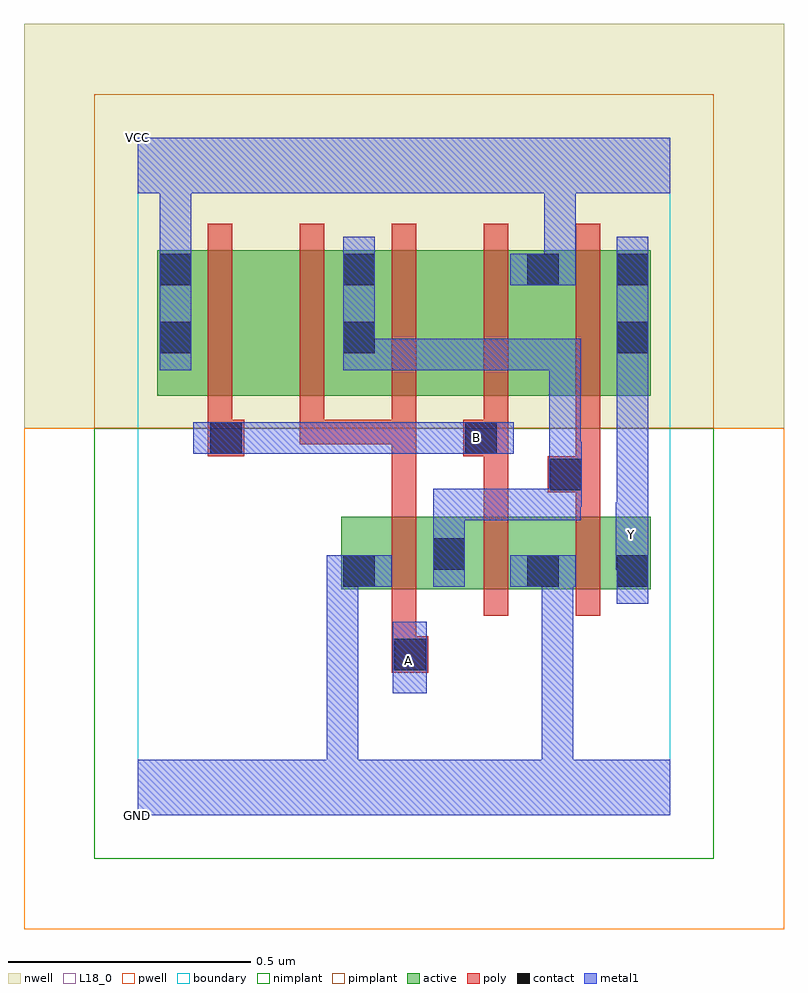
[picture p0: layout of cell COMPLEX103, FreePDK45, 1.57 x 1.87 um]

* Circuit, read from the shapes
.subckt COMPLEX103 A B GND VCC Y
M1 n1 A GND VSUBS nfet w=0.15u l=0.05u
M2 GND B n1 VSUBS nfet w=0.15u l=0.05u
M3 Y n1 GND VSUBS nfet w=0.15u l=0.05u
M4 n2 B VCC n3 pfet w=0.3u l=0.05u
M5 n1 A n2 n3 pfet w=0.3u l=0.05u
M6 n4 A n1 n3 pfet w=0.3u l=0.05u
M7 VCC B n4 n3 pfet w=0.3u l=0.05u
M8 Y n1 VCC n3 pfet w=0.3u l=0.05u
.ends

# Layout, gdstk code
import gdstk
lib = gdstk.Library(unit=1e-6, precision=1e-09)
def R(c, l, rs):  # rectangles x0, y0, x1, y1
    for r in rs: c.add(gdstk.rectangle(r[:2], r[2:], *l))
def A(c, l, x, y, w, h, nx, ny, dx, dy):  # array of equal rectangles
    R(c, l, [(x+i*dx, y+j*dy, x+i*dx+w, y+j*dy+h) for i in range(nx) for j in range(ny)])
active = (1, 0)
pwell = (2, 0)
nwell = (3, 0)
nimplant = (4, 0)
pimplant = (5, 0)
poly = (9, 0)
contact = (10, 0)
metal1 = (11, 0)
L18_0 = (18, 0)
boundary = (235, 0)

complex103 = lib.new_cell('COMPLEX103')
A(complex103, active, 0.04, 0.867, 0.075, 0.3, 3, 1, 0.38, 0)
R(complex103, active, [(0.42,0.467,0.495,0.617), (0.42,0.467,0.68,0.617), (0.605,0.467,0.68,0.617), (0.605,0.467,0.875,0.617), (0.8,0.467,1.06,0.617), (0.8,0.467,0.875,0.542), (0.985,0.467,1.06,0.617), (0.04,0.867,0.265,1.167), (0.265,0.867,0.495,1.167), (0.42,0.867,0.645,1.167), (0.645,0.867,0.875,1.167), (0.8,0.867,1.06,1.167), (0.985,0.867,1.06,1.165)])
R(complex103, pwell, [(-0.235,-0.235,1.335,0.8)])
R(complex103, nwell, [(-0.235,0.8,1.335,1.635)])
R(complex103, nimplant, [(-0.09,-0.09,1.19,0.8)])
R(complex103, pimplant, [(-0.09,0.8,1.19,1.49)])
A(complex103, poly, 0.525, 0.412, 0.05, 0.26, 3, 1, 0.19, 0)
A(complex103, poly, 0.145, 0.767, 0.05, 0.095, 4, 1, 0.19, 0)
A(complex103, poly, 0.145, 0.812, 0.05, 0.41, 5, 1, 0.19, 0)
R(complex103, poly, [(0.525,0.295,0.6,0.37), (0.525,0.32,0.575,0.462), (0.525,0.622,0.575,0.817), (0.715,0.622,0.765,0.792), (0.905,0.622,0.955,0.717), (0.847,0.667,0.955,0.742), (0.905,0.692,0.955,0.862), (0.145,0.742,0.22,0.817), (0.672,0.742,0.765,0.817), (0.335,0.767,0.575,0.817), (0.335,0.767,0.385,0.817), (0.335,0.767,0.385,0.817), (0.335,0.767,0.385,0.817), (0.525,0.767,0.575,0.817)])
A(complex103, contact, 0.045, 1.095, 0.065, 0.065, 3, 1, 0.38, 0)
R(complex103, contact, [(0.53,0.3,0.595,0.365), (0.425,0.472,0.49,0.537), (0.805,0.472,0.87,0.537), (0.99,0.472,1.055,0.537), (0.61,0.507,0.675,0.572), (0.852,0.672,0.917,0.737), (0.15,0.747,0.215,0.812), (0.677,0.747,0.742,0.812), (0.045,0.955,0.11,1.02), (0.425,0.955,0.49,1.02), (0.99,0.955,1.055,1.02), (0.99,1.095,1.055,1.16)])
R(complex103, metal1, [(0,0,1.1,0.115), (0.39,0.05,0.455,0.115), (0.39,0.05,0.455,0.115), (0.39,0.05,0.455,0.115), (0.39,0.05,0.455,0.115), (0.39,0.05,0.455,0.115), (0.39,0.05,0.455,0.115), (0.39,0.05,0.455,0.537), (0.835,0.05,0.9,0.115), (0.835,0.05,0.9,0.115), (0.835,0.05,0.9,0.115), (0.835,0.05,0.9,0.115), (0.835,0.05,0.9,0.115), (0.835,0.05,0.9,0.115), (0.835,0.05,0.9,0.115), (0.835,0.05,0.9,0.115), (0.835,0.05,0.9,0.537), (0.527,0.252,0.597,0.4), (0.99,0.437,1.055,0.572), (0.39,0.472,0.455,0.537), (0.39,0.472,0.455,0.537), (0.39,0.472,0.525,0.537), (0.61,0.472,0.675,0.607), (0.77,0.472,0.905,0.537), (0.987,0.507,1.055,0.647), (0.99,0.507,1.055,0.572), (0.61,0.542,0.675,0.607), (0.61,0.542,0.675,0.675), (0.99,0.582,1.055,0.985), (0.61,0.61,0.915,0.675), (0.85,0.61,0.915,0.675), (0.85,0.61,0.915,0.702), (0.85,0.637,0.915,0.702), (0.85,0.637,0.917,0.702), (0.85,0.637,0.915,0.985), (0.852,0.637,0.917,0.772), (0.115,0.747,0.25,0.812), (0.185,0.747,0.25,0.812), (0.185,0.747,0.25,0.812), (0.185,0.747,0.387,0.812), (0.322,0.747,0.387,0.812), (0.322,0.747,0.525,0.812), (0.46,0.747,0.525,0.812), (0.46,0.747,0.525,0.812), (0.46,0.747,0.525,0.812), (0.46,0.747,0.697,0.812), (0.632,0.747,0.697,0.812), (0.632,0.747,0.697,0.812), (0.632,0.747,0.777,0.812), (0.045,0.92,0.11,1.195), (0.425,0.92,0.49,1.195), (0.425,0.92,0.525,0.985), (0.46,0.92,0.525,0.985), (0.46,0.92,0.692,0.985), (0.627,0.92,0.692,0.985), (0.627,0.92,0.692,0.985), (0.627,0.92,0.692,0.985), (0.627,0.92,0.915,0.985), (0.85,0.92,0.915,0.985), (0.99,0.92,1.055,1.195), (0.77,1.095,0.905,1.16), (0.84,1.095,0.905,1.35), (0.045,1.13,0.11,1.195), (0.045,1.13,0.11,1.195), (0.045,1.13,0.11,1.35), (0,1.285,1.1,1.4), (0.84,1.285,0.905,1.35), (0.84,1.285,0.905,1.35)])
R(complex103, L18_0, [(0,0,1.1,0.115), (0.39,0.05,0.455,0.115), (0.39,0.05,0.455,0.115), (0.39,0.05,0.455,0.115), (0.39,0.05,0.455,0.115), (0.39,0.05,0.455,0.115), (0.39,0.05,0.455,0.115), (0.39,0.05,0.455,0.537), (0.835,0.05,0.9,0.115), (0.835,0.05,0.9,0.115), (0.835,0.05,0.9,0.115), (0.835,0.05,0.9,0.115), (0.835,0.05,0.9,0.115), (0.835,0.05,0.9,0.115), (0.835,0.05,0.9,0.115), (0.835,0.05,0.9,0.115), (0.835,0.05,0.9,0.537), (0.527,0.252,0.597,0.4), (0.527,0.287,0.592,0.352), (0.99,0.437,1.055,0.572), (0.39,0.472,0.455,0.537), (0.39,0.472,0.455,0.537), (0.39,0.472,0.525,0.537), (0.77,0.472,0.905,0.537), (0.987,0.507,1.055,0.647), (0.99,0.507,1.055,0.572), (0.987,0.547,1.052,0.612), (0.99,0.582,1.055,0.985), (0.115,0.747,0.25,0.812), (0.185,0.747,0.25,0.812), (0.185,0.747,0.25,0.812), (0.185,0.747,0.387,0.812), (0.322,0.747,0.387,0.812), (0.322,0.747,0.525,0.812), (0.46,0.747,0.525,0.812), (0.46,0.747,0.525,0.812), (0.46,0.747,0.525,0.812), (0.46,0.747,0.697,0.812), (0.632,0.747,0.697,0.812), (0.632,0.747,0.697,0.812), (0.632,0.747,0.777,0.812), (0.667,0.747,0.732,0.812), (0.045,0.92,0.11,1.195), (0.99,0.92,1.055,1.195), (0.77,1.095,0.905,1.16), (0.84,1.095,0.905,1.35), (0.045,1.13,0.11,1.195), (0.045,1.13,0.11,1.195), (0.045,1.13,0.11,1.35), (0,1.285,1.1,1.4), (0.84,1.285,0.905,1.35), (0.84,1.285,0.905,1.35)])
R(complex103, boundary, [(0,0,1.1,1.4)])
complex103.add(gdstk.Label('A', (0.56,0.32), layer=11, texttype=0))
complex103.add(gdstk.Label('B', (0.7,0.78), layer=11, texttype=0))
complex103.add(gdstk.Label('Y', (1.02,0.58), layer=11, texttype=0))
complex103.add(gdstk.Label('VCC', (0,1.4), layer=11, texttype=0))
complex103.add(gdstk.Label('GND', (0,0), layer=11, texttype=0))

lib.write_gds('COMPLEX103.gds')
